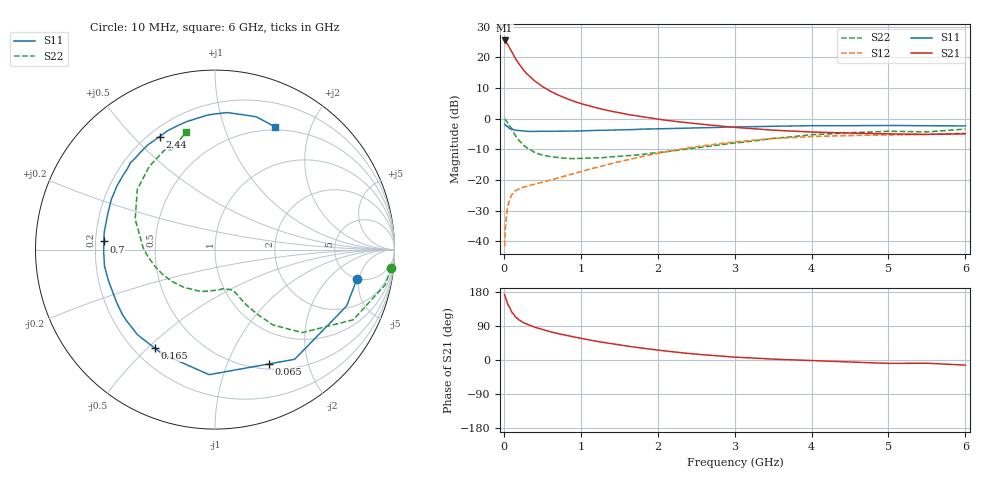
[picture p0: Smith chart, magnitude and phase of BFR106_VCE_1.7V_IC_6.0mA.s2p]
! Infineon Technologies  Discrete & RF Semiconductors
! BFR106
! VCE =  1.7 V,  IC =  6.0 mA
! Common Emitter S-Parameters:  Nov 2015
# GHz  S  MA  R  50
!  f  S11  S21  S12  S22
! GHz  MAG  ANG  MAG  ANG  MAG  ANG  MAG  ANG
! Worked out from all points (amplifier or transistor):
!   210 points, 10 MHz to 6 GHz, reference 50 ohm
!   highest |S21| = 25.5 dB at 10 MHz (marker M1)
!   |S21| within 3 dB of that: start of sweep to 87.15 MHz
!   unconditionally stable (mu >= 1): 569.6 MHz to 2.383 GHz; 4.167 GHz to end of sweep
!   at 185 MHz: K = 0.43, MSG = 20.7 dB, |S12| = -23.1 dB
!   at 1.52 GHz: K = 1.13, MAG = 5.7 dB, |S12| = -13.9 dB
!   at 6 GHz: K = 1.03, MAG = -1.1 dB, |S12| = -4.8 dB
!   S11 on the Smith chart (normalised r, x): 10 MHz: 4.93, -4.65; 65 MHz: 0.56, -1.42; 165 MHz: 0.28, -0.53; 700 MHz: 0.23, +0.03; 2.44 GHz: 0.24, +0.60; 6 GHz: 0.47, +1.51
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0.01  0.8079 -11.7  18.82 172.4  0.0083 85.8  0.9869 -5.9
0.02  0.7976 -23.2  18.46 166.2  0.0162 80.4  0.9674 -11.8
0.05  0.7554 -54.0  16.31 147.7  0.0369 63.8  0.8641 -26.9
0.065  0.7044 -64.7  15 142.7  0.0426 58.0  0.7997 -31.0
0.1  0.6976 -92.7  12.54 127.3  0.057 49.2  0.6708 -43.6
0.15  0.6512 -116.7  9.564 113.7  0.0665 41.1  0.5282 -52.5
0.165  0.6433 -121.3  8.985 111.6  0.068 40.2  0.5005 -53.5
0.2  0.6415 -132.2  7.693 105.4  0.0716 38.2  0.4366 -56.5
0.24  0.6324 -141.4  6.58 100.4  0.0749 37.3  0.3842 -58.9
0.3  0.6222 -151.7  5.351 94.2  0.0789 37.5  0.3336 -61.4
0.4  0.6185 -163.8  4.123 86.7  0.0853 39.2  0.281 -63.7
0.5  0.6225 -171.6  3.334 80.4  0.0916 41.7  0.2526 -65.7
0.6  0.6202 -178.6  2.816 74.8  0.0992 44.4  0.2396 -68.6
0.7  0.6218 175.8  2.444 69.7  0.1073 47.1  0.2318 -72.1
1.02  0.6303 161.1  1.73 56.5  0.1388 52.9  0.2251 -84.7
1.4  0.6512 147.4  1.314 43.2  0.1848 55.6  0.2387 -102.8
2.02  0.682 128.0  0.974 25.7  0.2743 52.3  0.2806 -135.0
2.44  0.7008 116.1  0.842 16.5  0.3381 46.9  0.3264 -156.4
3.1  0.7328 100.6  0.705 6.6  0.4268 35.6  0.411 174.3
4.1  0.7659 83.7  0.599 -2.2  0.5137 17.7  0.5531 139.4
5.1  0.7721 71.6  0.561 -8.8  0.5449 3.6  0.6187 116.2
6  0.7599 63.7  0.564 -13.5  0.5758 -6.4  0.6755 103.7
